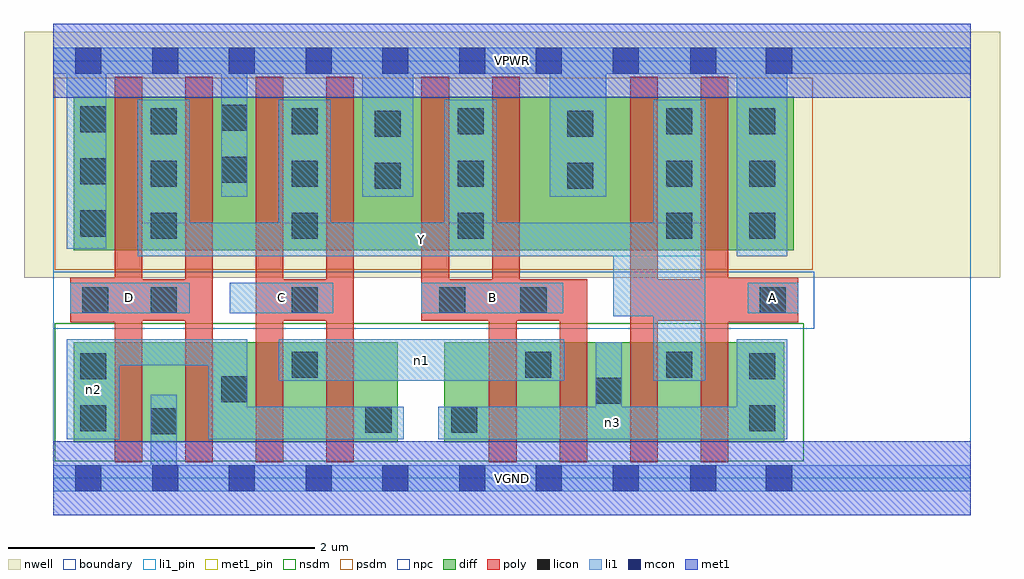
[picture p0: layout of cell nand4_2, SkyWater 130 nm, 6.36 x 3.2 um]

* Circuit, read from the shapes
.subckt nand4_2 A B C D VGND VPWR Y n1 n2 n3
XM1 VGND D n2 VSUBS sky130_fd_pr__nfet_01v8 w=0.65 l=0.18 m=2
XM2 n1 C n2 VSUBS sky130_fd_pr__nfet_01v8 w=0.65 l=0.18 m=2
XM3 n1 B n3 VSUBS sky130_fd_pr__nfet_01v8 w=0.65 l=0.18 m=2
XM4 Y A n3 VSUBS sky130_fd_pr__nfet_01v8 w=0.65 l=0.18 m=2
XM5 Y D VPWR n4 sky130_fd_pr__pfet_01v8 w=1 l=0.18 m=2
XM6 Y C VPWR n4 sky130_fd_pr__pfet_01v8 w=1 l=0.18 m=2
XM7 Y B VPWR n4 sky130_fd_pr__pfet_01v8 w=1 l=0.18 m=2
XM8 Y A VPWR n4 sky130_fd_pr__pfet_01v8 w=1 l=0.18 m=2
.ends

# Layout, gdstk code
import gdstk
lib = gdstk.Library(unit=1e-6, precision=1e-09)
def R(c, l, rs):  # rectangles x0, y0, x1, y1
    for r in rs: c.add(gdstk.rectangle(r[:2], r[2:], *l))
def A(c, l, x, y, w, h, nx, ny, dx, dy):  # array of equal rectangles
    R(c, l, [(x+i*dx, y+j*dy, x+i*dx+w, y+j*dy+h) for i in range(nx) for j in range(ny)])
nwell = (64, 20)
diff = (65, 20)
poly = (66, 20)
licon = (66, 44)
li1_pin = (67, 16)
li1 = (67, 20)
mcon = (67, 44)
met1_pin = (68, 16)
met1 = (68, 20)
nsdm = (93, 44)
psdm = (94, 20)
npc = (95, 20)
boundary = (235, 4)

nand4_2 = lib.new_cell('nand4_2')
R(nand4_2, nwell, [(-0.19,1.305,6.17,2.91), (0,1.305,5.98,2.91)])
R(nand4_2, diff, [(0.135,0.235,2.245,0.885), (2.55,0.235,4.765,0.885), (0.135,1.485,4.825,2.485)])
A(nand4_2, poly, 0.4, 0.105, 0.18, 2.51, 4, 1, 0.46, 0)
R(nand4_2, poly, [(2.84,0.105,3.02,1.295), (3.3,0.105,3.48,1.295), (3.76,0.105,3.94,2.615), (4.22,0.105,4.4,2.615), (0.11,1.015,0.58,1.305), (4.22,1.015,4.855,1.305), (0.11,1.025,1.04,1.295), (1.32,1.025,1.96,1.295), (2.4,1.025,3.48,1.295), (2.4,1.025,2.58,2.615), (2.86,1.025,3.04,2.615), (3.76,1.025,4.855,1.295)])
A(nand4_2, licon, 0.635, 1.56, 0.17, 0.17, 1, 3, 0, 0.34)
A(nand4_2, licon, 1.555, 1.56, 0.17, 0.17, 1, 3, 0, 0.34)
A(nand4_2, licon, 2.635, 1.56, 0.17, 0.17, 1, 3, 0, 0.34)
A(nand4_2, licon, 3.995, 1.56, 0.17, 0.17, 1, 3, 0, 0.34)
A(nand4_2, licon, 4.535, 1.56, 0.17, 0.17, 1, 3, 0, 0.34)
A(nand4_2, licon, 0.175, 1.575, 0.17, 0.17, 1, 3, 0, 0.34)
R(nand4_2, licon, [(0.635,0.285,0.805,0.455), (2.035,0.295,2.205,0.465), (2.595,0.295,2.765,0.465), (0.175,0.305,0.345,0.475), (4.535,0.305,4.705,0.475), (3.535,0.485,3.705,0.655), (1.095,0.495,1.265,0.665), (0.175,0.645,0.345,0.815), (4.535,0.645,4.705,0.815), (1.555,0.655,1.725,0.825), (3.075,0.655,3.245,0.825), (3.995,0.655,4.165,0.825), (0.19,1.075,0.36,1.245), (0.635,1.075,0.805,1.245), (1.555,1.075,1.725,1.245), (2.515,1.075,2.685,1.245), (3.045,1.075,3.215,1.245), (4.605,1.075,4.775,1.245), (2.095,1.885,2.265,2.055), (3.35,1.885,3.52,2.055), (1.095,1.925,1.265,2.095), (2.095,2.225,2.265,2.395), (3.35,2.225,3.52,2.395), (1.095,2.265,1.265,2.435)])
R(nand4_2, li1_pin, [(0.11,1.075,0.89,1.275), (1.15,1.075,1.825,1.275), (2.4,1.075,3.325,1.275), (4.525,1.075,4.855,1.275), (0.55,1.445,4.25,1.665)])
R(nand4_2, li1, [(0,-0.085,5.98,0.085), (0.635,-0.085,0.805,0.545), (0.09,0.255,0.43,0.905), (1.01,0.255,2.285,0.465), (1.01,0.255,1.265,0.905), (2.51,0.255,4.785,0.465), (3.535,0.255,3.705,0.885), (4.455,0.255,4.785,0.905), (1.47,0.635,3.33,0.905), (3.91,0.635,4.25,2.465), (0.09,0.735,1.265,0.905), (3.65,1.055,4.25,1.665), (0.11,1.075,0.89,1.275), (1.15,1.075,1.825,1.275), (2.4,1.075,3.325,1.275), (4.525,1.075,4.855,1.275), (0.55,1.445,4.25,1.665), (0.55,1.445,0.89,2.465), (1.47,1.445,1.81,2.465), (2.55,1.445,2.89,2.465), (4.455,1.445,4.785,2.805), (0.09,1.495,0.345,2.805), (1.095,1.835,1.265,2.805), (2.015,1.835,2.345,2.805), (3.235,1.835,3.605,2.805), (0,2.635,5.98,2.805)])
A(nand4_2, mcon, 0.145, -0.085, 0.17, 0.17, 8, 2, 0.5, 2.72)
R(nand4_2, mcon, [(4.15,-0.085,4.32,0.085), (4.645,-0.085,4.815,0.085), (4.15,2.635,4.32,2.805), (4.645,2.635,4.815,2.805)])
R(nand4_2, met1_pin, [(0,-0.24,5.98,0.24), (0,2.48,5.98,2.96)])
R(nand4_2, met1, [(0,-0.24,5.98,0.24), (0,2.48,5.98,2.96)])
R(nand4_2, nsdm, [(0.01,0.11,4.89,1.01)])
R(nand4_2, psdm, [(0.01,1.36,4.95,2.61)])
R(nand4_2, npc, [(0,0.975,4.96,1.345)])
R(nand4_2, boundary, [(0,0,5.98,2.72)])
nand4_2.add(gdstk.Label('A', (4.69,1.175), layer=67, texttype=5))
nand4_2.add(gdstk.Label('B', (2.862,1.175), layer=67, texttype=5))
nand4_2.add(gdstk.Label('C', (1.487,1.175), layer=67, texttype=5))
nand4_2.add(gdstk.Label('D', (0.5,1.175), layer=67, texttype=5))
nand4_2.add(gdstk.Label('Y', (2.4,1.555), layer=67, texttype=5))
nand4_2.add(gdstk.Label('n2', (0.26,0.58), layer=67, texttype=5))
nand4_2.add(gdstk.Label('n1', (2.4,0.77), layer=67, texttype=5))
nand4_2.add(gdstk.Label('n3', (3.647,0.36), layer=67, texttype=5))
nand4_2.add(gdstk.Label('VPWR', (2.99,2.72), layer=68, texttype=5))
nand4_2.add(gdstk.Label('VGND', (2.99,0), layer=68, texttype=5))
nand4_2.add(gdstk.Label('A', (4.69,1.175), layer=67, texttype=16))
nand4_2.add(gdstk.Label('B', (2.862,1.175), layer=67, texttype=16))
nand4_2.add(gdstk.Label('C', (1.487,1.175), layer=67, texttype=16))
nand4_2.add(gdstk.Label('D', (0.5,1.175), layer=67, texttype=16))
nand4_2.add(gdstk.Label('Y', (2.4,1.555), layer=67, texttype=16))
nand4_2.add(gdstk.Label('VPWR', (2.99,2.72), layer=68, texttype=16))
nand4_2.add(gdstk.Label('VGND', (2.99,0), layer=68, texttype=16))

lib.write_gds('nand4_2.gds')
